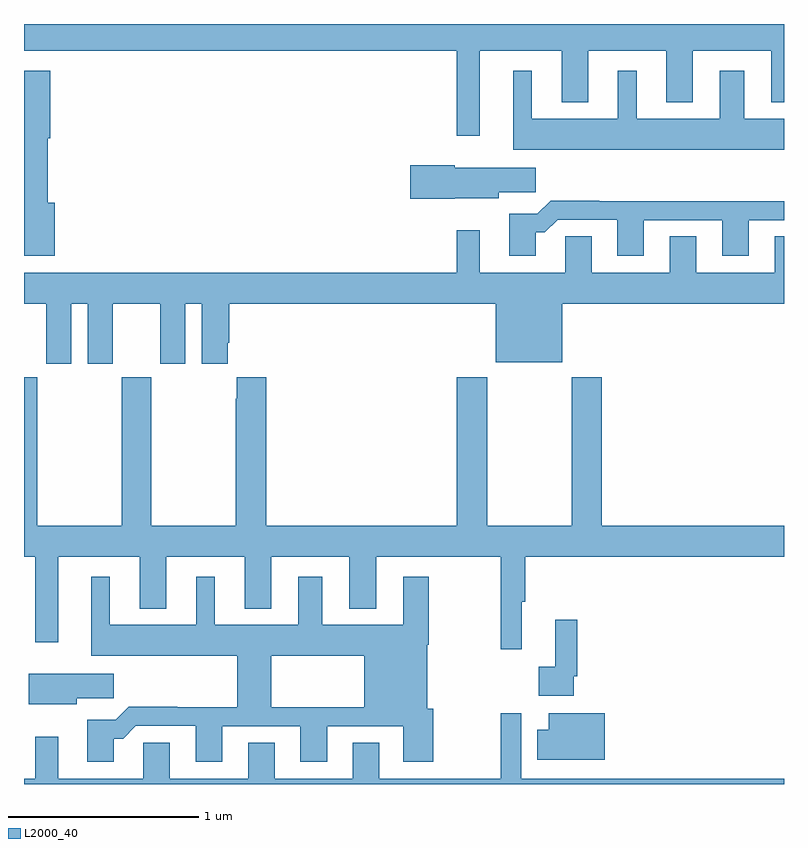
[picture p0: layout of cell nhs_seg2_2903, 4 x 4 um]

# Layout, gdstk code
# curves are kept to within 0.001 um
import gdstk
lib = gdstk.Library(unit=1e-6, precision=1e-09)
def P(c, l, *ps):  # polygons
    for p in ps: c.add(gdstk.Polygon(p, *l))
L2000_40 = (2000, 40)

nhs_seg2_2903 = lib.new_cell('nhs_seg2_2903')
P(nhs_seg2_2903, L2000_40, [(263,623.66),(265.278,623.66),(265.278,623.211),(265.399,623.211),(265.399,623.66),(265.829,623.66),(265.829,623.387),(265.969,623.387),(265.969,623.66),(266.381,623.66),(266.381,623.387),(266.521,623.387),(266.521,623.66),(266.933,623.66),(266.933,623.387),(267,623.387),(267,623.8),(263,623.8)],
  [(263.162,622.86),(263.125,622.86),(263.125,623.198),(263.138,623.198),(263.138,623.554),(263,623.554),(263,622.581),(263.162,622.581)],
  [(267,623.302),(266.791,623.302),(266.791,623.554),(266.663,623.554),(266.663,623.302),(266.224,623.302),(266.224,623.554),(266.126,623.554),(266.126,623.302),(265.672,623.302),(265.672,623.554),(265.574,623.554),(265.574,623.138),(267,623.138)],
  [(265.266,622.883),(265.498,622.883),(265.498,622.915),(265.693,622.915),(265.693,623.044),(265.266,623.044),(265.266,623.057),(265.032,623.057),(265.032,622.879),(265.266,622.879)],
  [(265.693,622.703),(265.742,622.703),(265.809,622.77),(266.123,622.77),(266.123,622.581),(266.263,622.581),(266.263,622.767),(266.675,622.767),(266.675,622.581),(266.815,622.581),(266.815,622.767),(267,622.767),(267,622.868),(266.027,622.868),(266.027,622.871),(265.772,622.871),(265.702,622.801),(265.553,622.801),(265.553,622.581),(265.693,622.581)],
  [(263,622.328),(263.117,622.328),(263.117,622.011),(263.248,622.011),(263.248,622.328),(263.336,622.328),(263.336,622.011),(263.467,622.011),(263.467,622.328),(263.717,622.328),(263.717,622.011),(263.848,622.011),(263.848,622.328),(263.936,622.328),(263.936,622.011),(264.073,622.011),(264.073,622.123),(264.08,622.123),(264.08,622.328),(265.484,622.328),(265.484,622.019),(265.834,622.019),(265.834,622.328),(267,622.328),(267,622.682),(266.951,622.682),(266.951,622.492),(266.539,622.492),(266.539,622.682),(266.399,622.682),(266.399,622.492),(265.987,622.492),(265.987,622.682),(265.848,622.682),(265.848,622.492),(265.399,622.492),(265.399,622.714),(265.278,622.714),(265.278,622.492),(263,622.492)],
  [(265.619,620.76),(265.637,620.76),(265.637,620.996),(267,620.996),(267,621.16),(266.042,621.16),(266.042,621.94),(265.882,621.94),(265.882,621.16),(265.437,621.16),(265.437,621.94),(265.277,621.94),(265.277,621.16),(264.275,621.16),(264.275,621.94),(264.119,621.94),(264.119,621.827),(264.115,621.827),(264.115,621.16),(263.67,621.16),(263.67,621.94),(263.515,621.94),(263.515,621.16),(263.07,621.16),(263.07,621.94),(263,621.94),(263,620.996),(263.058,620.996),(263.058,620.547),(263.179,620.547),(263.179,620.996),(263.609,620.996),(263.609,620.723),(263.749,620.723),(263.749,620.996),(264.161,620.996),(264.161,620.723),(264.301,620.723),(264.301,620.996),(264.713,620.996),(264.713,620.723),(264.853,620.723),(264.853,620.996),(265.509,620.996),(265.509,620.508),(265.619,620.508)],
  [(263.807,620.207),(263.552,620.207),(263.482,620.137),(263.333,620.137),(263.333,619.917),(263.473,619.917),(263.473,620.039),(263.522,620.039),(263.589,620.106),(263.903,620.106),(263.903,619.917),(264.043,619.917),(264.043,620.103),(264.455,620.103),(264.455,619.917),(264.595,619.917),(264.595,620.103),(264.995,620.103),(264.995,619.917),(265.155,619.917),(265.155,620.196),(265.123,620.196),(265.123,620.534),(265.131,620.534),(265.131,620.89),(264.995,620.89),(264.995,620.638),(264.571,620.638),(264.571,620.89),(264.443,620.89),(264.443,620.638),(264.004,620.638),(264.004,620.89),(263.906,620.89),(263.906,620.638),(263.452,620.638),(263.452,620.89),(263.354,620.89),(263.354,620.474),(264.122,620.474),(264.122,620.204),(264.3,620.204),(264.3,620.474),(264.791,620.474),(264.791,620.204),(263.807,620.204)],
  [(265.893,620.368),(265.913,620.368),(265.913,620.665),(265.796,620.665),(265.796,620.417),(265.71,620.417),(265.71,620.264),(265.893,620.264)],
  [(263.278,620.251),(263.473,620.251),(263.473,620.38),(263.024,620.38),(263.024,620.219),(263.278,620.219)],
  [(266.056,620.173),(265.763,620.173),(265.763,620.086),(265.702,620.086),(265.702,619.928),(266.056,619.928)],
  [(267,619.828),(265.617,619.828),(265.617,620.173),(265.509,620.173),(265.509,619.828),(264.871,619.828),(264.871,620.018),(264.731,620.018),(264.731,619.828),(264.319,619.828),(264.319,620.018),(264.179,620.018),(264.179,619.828),(263.767,619.828),(263.767,620.018),(263.628,620.018),(263.628,619.828),(263.179,619.828),(263.179,620.05),(263.058,620.05),(263.058,619.828),(263,619.828),(263,619.8),(267,619.8)])

lib.write_gds('nhs_seg2_2903.gds')
